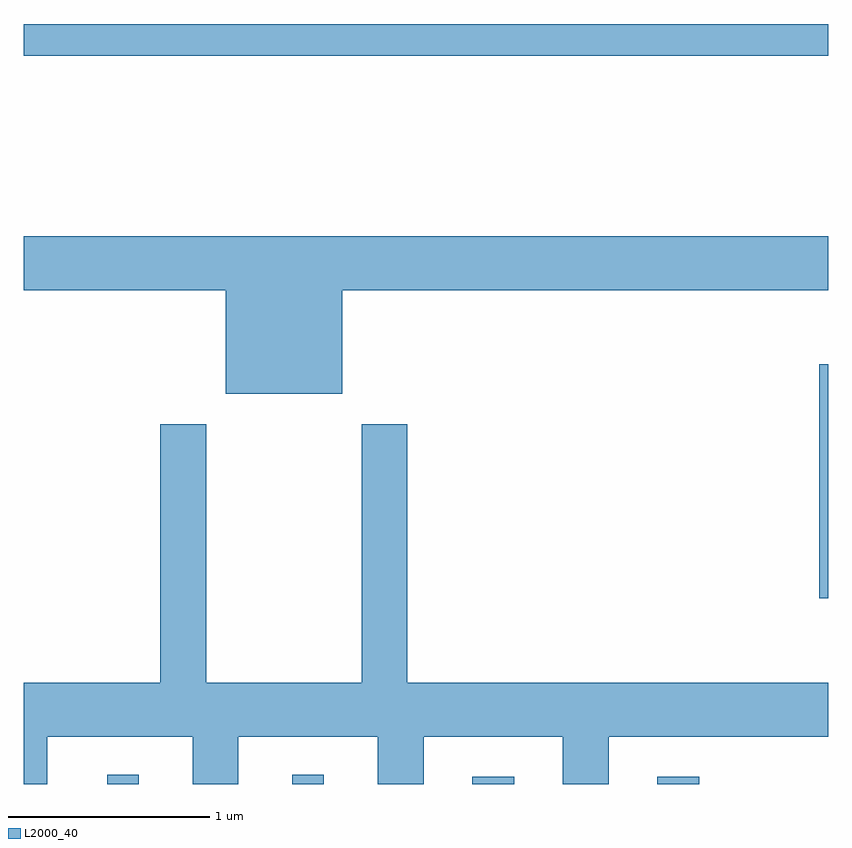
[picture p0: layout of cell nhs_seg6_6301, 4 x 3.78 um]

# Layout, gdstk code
import gdstk
lib = gdstk.Library(unit=1e-6, precision=1e-09)
def R(c, l, rs):  # rectangles x0, y0, x1, y1
    for r in rs: c.add(gdstk.rectangle(r[:2], r[2:], *l))
def P(c, l, *ps):  # polygons
    for p in ps: c.add(gdstk.Polygon(p, *l))
L2000_40 = (2000, 40)

nhs_seg6_6301 = lib.new_cell('nhs_seg6_6301')
R(nhs_seg6_6301, L2000_40, [(376.026,1634.162,376.184,1634.208), (376.946,1634.162,377.104,1634.208), (377.841,1634.162,378.049,1634.199), (378.761,1634.162,378.969,1634.199), (379.566,1635.086,379.611,1636.249), (375.611,1637.781,379.611,1637.939)])
P(nhs_seg6_6301, L2000_40, [(377.194,1636.616),(379.611,1636.616),(379.611,1636.884),(375.611,1636.884),(375.611,1636.616),(376.616,1636.616),(376.616,1636.101),(377.194,1636.101)],
  [(375.729,1634.396),(376.451,1634.396),(376.451,1634.162),(376.679,1634.162),(376.679,1634.396),(377.371,1634.396),(377.371,1634.162),(377.599,1634.162),(377.599,1634.396),(378.291,1634.396),(378.291,1634.162),(378.519,1634.162),(378.519,1634.396),(379.611,1634.396),(379.611,1634.664),(377.519,1634.664),(377.519,1635.949),(377.291,1635.949),(377.291,1634.664),(376.519,1634.664),(376.519,1635.949),(376.291,1635.949),(376.291,1634.664),(375.611,1634.664),(375.611,1634.162),(375.729,1634.162)])

lib.write_gds('nhs_seg6_6301.gds')
